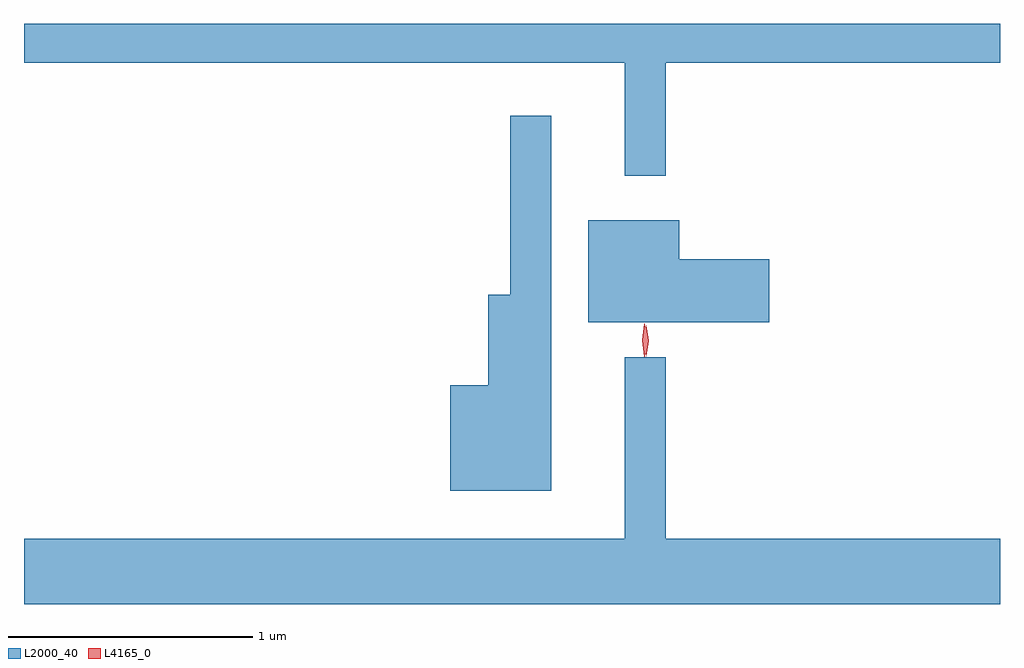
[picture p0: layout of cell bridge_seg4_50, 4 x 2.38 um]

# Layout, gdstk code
import gdstk
lib = gdstk.Library(unit=1e-6, precision=1e-09)
def P(c, l, *ps):  # polygons
    for p in ps: c.add(gdstk.Polygon(p, *l))
L2000_40 = (2000, 40)
L4165_0 = (4165, 0)

bridge_seg4_50 = lib.new_cell('bridge_seg4_50')
P(bridge_seg4_50, L2000_40, [(1301.389,1348.016),(1302.759,1348.016),(1302.759,1348.175),(1298.759,1348.175),(1298.759,1348.016),(1301.221,1348.016),(1301.221,1347.553),(1301.389,1347.553)],
  [(1300.919,1347.798),(1300.751,1347.798),(1300.751,1347.064),(1300.661,1347.064),(1300.661,1346.694),(1300.506,1346.694),(1300.506,1346.261),(1300.919,1346.261)],
  [(1301.814,1347.209),(1301.444,1347.209),(1301.444,1347.369),(1301.071,1347.369),(1301.071,1346.951),(1301.814,1346.951)],
  [(1302.759,1346.064),(1301.389,1346.064),(1301.389,1346.808),(1301.221,1346.808),(1301.221,1346.064),(1298.759,1346.064),(1298.759,1345.796),(1302.759,1345.796)])
P(bridge_seg4_50, L4165_0, [(1301.309,1346.813),(1301.309,1346.813),(1301.299,1346.876),(1301.309,1346.939),(1301.309,1346.94),(1301.31,1346.939),(1301.319,1346.876),(1301.31,1346.813)],
  [(1301.302,1346.81),(1301.293,1346.878),(1301.302,1346.946),(1301.302,1346.946),(1301.303,1346.946),(1301.312,1346.878),(1301.303,1346.81),(1301.303,1346.81)])

lib.write_gds('bridge_seg4_50.gds')
